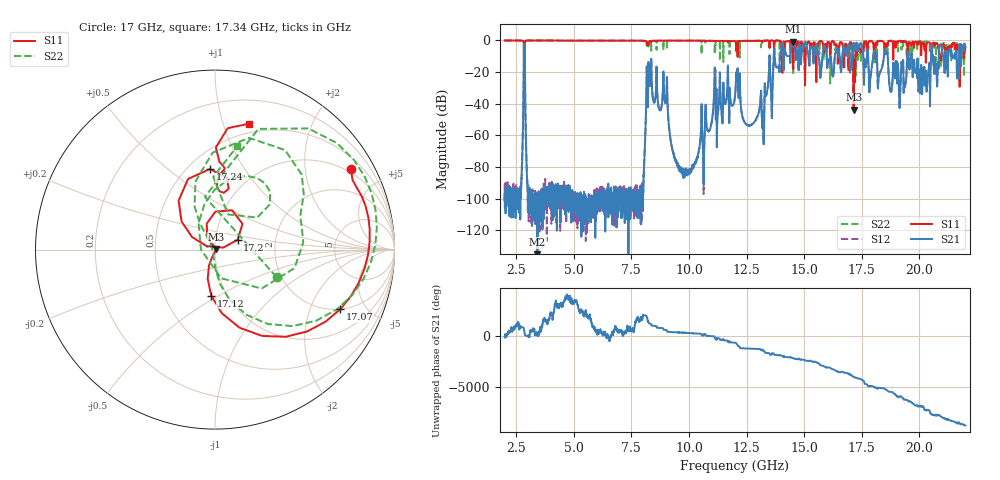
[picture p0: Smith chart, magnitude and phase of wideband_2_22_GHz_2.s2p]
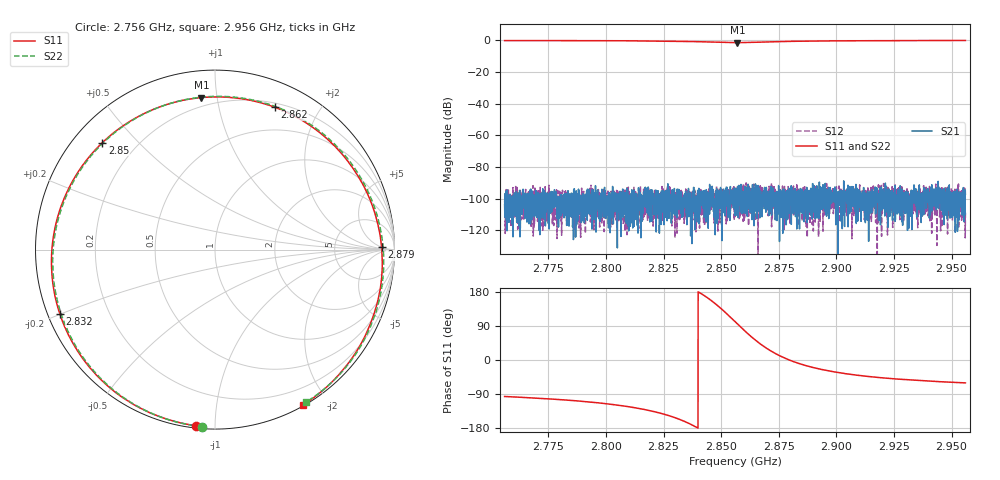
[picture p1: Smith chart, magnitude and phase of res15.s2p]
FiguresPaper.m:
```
clear
close all

load("results\FiguresResponse.mat")

LineW = 1;

DeltaPB = 15/1000;
DeltaSP = 80/1000;
f0 = 2.856;
Qu = 1060;

%% Magnitude

fig1 = figure;
ax1 = axes(fig1);
ax1.Units = "centimeters";
ax1.Position(3:4) = [7.5, 5];
ax1.XLim = [f0 - DeltaSP, f0 + DeltaSP];
ax1.YLim = [-70, 0];
hold on

plot(ax1,freqGHz,S21dbLoss, 'r', 'LineWidth',LineW, 'LineStyle','--')
plot(ax1,freqGHz,S11dbLoss, 'r', 'LineWidth',LineW, 'LineStyle','-')

plot(ax1,freqMeas,S21mod, 'k', 'LineWidth',LineW, 'LineStyle','--')
plot(ax1,freqMeas,S11mod, 'k', 'LineWidth',LineW, 'LineStyle','-')

hold off
% axis([min(w)/(2e9*pi) max(w)/(2e9*pi) -2*Rs 5])
% axis([min(w)/(2e9*pi) max(w)/(2e9*pi) -70 5])
ax1.XTick = [f0 - DeltaSP, f0 - DeltaPB, f0 + DeltaPB, f0 + DeltaSP];
% ax1.XTickLabel = num2str([f0-DfUn, f1, f2, f0+DfUn]');
xlabel(ax1,'Frequency (GHz)')
ylabel(ax1,'Magnitude (dB)')

legend(["|S21| syn. loss", "|S11| syn. loss", "|S21| meas.", "|S11| meas."], Location="south")

grid(ax1, 'on')
box(ax1, 'on')
% set(ax1, 'FontSize', 24)

interp1(freqMeas,S21mod,f0)
interp1(freqMeas,S11mod,f0)
interp1(freqMeas,S11mod,f0 - DeltaPB)
interp1(freqMeas,S11mod,f0 + DeltaPB)

idxx = and(freqMeas > f0 - DeltaPB, freqMeas < f0 + DeltaPB);
max(S11mod(idxx))

interp1(freqMeas,S21mod,f0 - DeltaSP)
interp1(freqMeas,S21mod,f0 + DeltaSP)

%% Group delay

fig2 = figure;
ax2 = axes(fig2);
ax2.Units = "centimeters";
ax2.Position(3:4) = [7.5, 5];
ax2.XLim = [f0 - DeltaSP, f0 + DeltaSP];
ax2.YLim = [0, 50];
hold on

plot(ax2,freqGHz,GdTheoryLossy, 'k', 'LineWidth',LineW, 'LineStyle','--')
plot(ax2,freqMeas,GdMeas, 'k', 'LineWidth',LineW, 'LineStyle','-')

hold off
% axis([min(w)/(2e9*pi) max(w)/(2e9*pi) -2*Rs 5])
% axis([min(w)/(2e9*pi) max(w)/(2e9*pi) -70 5])
ax2.XTick = [f0 - DeltaSP, f0 - DeltaPB, f0 + DeltaPB, f0 + DeltaSP];
% ax1.XTickLabel = num2str([f0-DfUn, f1, f2, f0+DfUn]');
xlabel(ax2,'Frequency (GHz)')
ylabel(ax2,'Group delay (ns)')

legend(["|S21| syn. loss", "|S21| meas."], Location="south")

grid(ax2, 'on')
box(ax2, 'on')

interp1(freqGHz,GdTheoryLossy,f0)
interp1(freqMeas,GdMeas,f0)

%% Magnitude wideband response

sparamWB = sparameters("C:\Users\giannetti\OneDrive - unifi.it\Università\INFN\Lavori\CavityFilter\Misure\Data20231129\wideband_2_22_GHz_2.s2p");

freqWB = sparamWB.Frequencies*1e-9;
S11WB = mag2db(abs(squeeze(sparamWB.Parameters(1,1,:))));
S21WB = mag2db(abs(squeeze(sparamWB.Parameters(2,1,:))));

fig3 = figure;
ax3 = axes(fig3);
ax3.Units = "centimeters";
ax3.Position(3:4) = [7.5, 5];
ax3.XLim = [2, 12];
ax3.YLim = [-100, 0];
hold on

% plot(ax3,freqWB,S11WB, 'k', 'LineWidth',LineW, 'LineStyle','--')
plot(ax3,freqWB,S21WB, 'k', 'LineWidth',LineW, 'LineStyle','-')

hold off
% axis([min(w)/(2e9*pi) max(w)/(2e9*pi) -2*Rs 5])
% axis([min(w)/(2e9*pi) max(w)/(2e9*pi) -70 5])
% ax3.XTick = [f0 - Delta, f0 - DeltaPB, f0 + DeltaPB, f0 + Delta];
% ax1.XTickLabel = num2str([f0-DfUn, f1, f2, f0+DfUn]');
xlabel(ax3,'Frequency (GHz)')
ylabel(ax3,'Magnitude (dB)')

legend(["|S21| meas."], Location="south")
% legend(["|S11| meas.", "|S21| meas."], Location="south")

grid(ax3, 'on')
box(ax3, 'on')

%% Group delay ports

sparamGD = sparameters("C:\Users\giannetti\OneDrive - unifi.it\Università\INFN\Lavori\CavityFilter\Misure\Data20231129\res15.s2p");
gd11 = groupdelay(sparamGD,1,1)*1e9;
gd22 = groupdelay(sparamGD,2,2)*1e9;
freqMeasGD = sparamGD.Frequencies*1e-9;

fig4 = figure;
ax4 = axes(fig4);
ax4.Units = "centimeters";
ax4.Position(3:4) = [7.5, 5];
ax4.XLim = [f0 - DeltaSP, f0 + DeltaSP];
ax4.YLim = [0, 20];
hold on

plot(ax4,freqMeasGD(1:320:3201),gd11(1:320:3201), 'ok', 'LineWidth',LineW, 'LineStyle','none')
plot(ax4,freqMeasGD(161:320:3201),gd22(161:320:3201), 'xr', 'LineWidth',LineW, 'LineStyle','none')

plot(ax4,freqMeasGD,gd11, 'k', 'LineWidth',LineW, 'LineStyle','--')
plot(ax4,freqMeasGD,gd22, 'r', 'LineWidth',LineW, 'LineStyle',':')

hold off
% axis([min(w)/(2e9*pi) max(w)/(2e9*pi) -2*Rs 5])
% axis([min(w)/(2e9*pi) max(w)/(2e9*pi) -70 5])
ax4.XTick = [f0 - DeltaSP, f0 - DeltaPB, f0 + DeltaPB, f0 + DeltaSP];
% ax1.XTickLabel = num2str([f0-DfUn, f1, f2, f0+DfUn]');
xlabel(ax4,'Frequency (GHz)')
ylabel(ax4,'Group delay (ns)')

legend(["Port 1", "Port 2"], Location="south")

grid(ax4, 'on')
box(ax4, 'on')

GdRealP1 = interp1(freqMeasGD,gd11,f0)
GdRealP2 = interp1(freqMeasGD,gd22,f0)

coeff = GdRealP1;
r = roots([coeff/Qu^2, 2/(pi*f0), -coeff]);
r(2)

%% Saving

% exportgraphics(fig1,"figures\Sparam_magnitude.pdf")
% exportgraphics(fig2,"figures\Sparam_groupdelay.pdf")
% exportgraphics(fig3,"figures\Sparam_magnitudeWB.pdf")
% exportgraphics(fig4,"figures\Sparam_GDports.pdf")
```
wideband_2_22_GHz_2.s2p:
!Agilent Technologies,N5242A,MY47420273,A.09.90.17
!Agilent N5242A: A.09.90.17
!Date: Wednesday, November 29, 2023 14:02:16
!Correction: S11(Full 2 Port(1,4))
!S41(Full 2 Port(1,4))
!S14(Full 2 Port(1,4))
!S44(Full 2 Port(1,4))
!S2P File: Measurements: S11, S41, S14, S44:
# Hz S  RI  R 50
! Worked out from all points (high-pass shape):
!   3201 points, 2 GHz to 22 GHz, reference 50 ohm
!   highest |S21| = -0.74 dB at 14.53 GHz (marker M1); lowest = -135.9 dB at 3.425 GHz (marker M2)
!   |S21| within 3 dB of the highest: 14.44 GHz to 14.59 GHz (144.5 MHz wide, 0.995 % of centre); 14.97 GHz to 15.11 GHz (139.2 MHz wide, 0.926 % of centre)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
!   lowest |S11| = -43.7 dB at 17.15 GHz (marker M3), VSWR 1.01, Z = 50.5 + j0.408 ohm
!   |S11| at or under -10 dB: 17.11 GHz to 17.23 GHz (115.1 MHz wide, 0.67 % of centre); 20.87693 GHz to 20.95259 GHz (75.66 MHz wide, 0.362 % of centre); 21.71986 GHz to 21.77236 GHz (52.51 MHz wide, 0.241 % of centre)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
!   |S22| runs from -37.0 to 0.0 dB; largest |S21 - S12| = 0.0095
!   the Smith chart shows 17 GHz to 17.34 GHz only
!   S11 on the Smith chart (normalised r, x): 17 GHz: 0.87, +3.44; 17.07 GHz: 1.99, -3.29; 17.12 GHz: 0.84, -0.46; 17.2 GHz: 1.28, +0.14; 17.24 GHz: 0.63, +0.71; 17.34 GHz: 0.41, +1.22
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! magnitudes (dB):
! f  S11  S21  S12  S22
! 2 GHz  0.0  -100.9  -90.9  0.0
! 3.425 GHz  0.0  -135.9  -101.2  -0.1
! 12 GHz  -0.5  -35.3  -35.3  -0.3
! 14.53 GHz  -18.0  -0.7  -0.7  -21.9
! 17 GHz  -1.1  -19.4  -19.4  -8.5
! 17.07 GHz  -2.2  -13.2  -13.1  -1.5
! 17.12 GHz  -11.8  -3.2  -3.2  -10.6
! 17.15 GHz  -43.7  -1.7  -1.7  -26.1
! 17.2 GHz  -17.2  -5.0  -5.0  -3.9
! 17.24 GHz  -6.9  -5.3  -5.3  -9.4
! 17.34 GHz  -2.8  -6.5  -6.5  -4.6
! 22 GHz  -4.4  -4.3  -4.2  -4.7
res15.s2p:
!Agilent Technologies,N5242A,MY47420273,A.09.90.17
!Agilent N5242A: A.09.90.17
!Date: Wednesday, November 29, 2023 13:27:30
!Correction: S11(Full 2 Port(1,4))
!S41(Full 2 Port(1,4))
!S14(Full 2 Port(1,4))
!S44(Full 2 Port(1,4))
!S2P File: Measurements: S11, S41, S14, S44:
# Hz S  RI  R 50
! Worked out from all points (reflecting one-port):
!   3201 points, 2.756 GHz to 2.956 GHz, reference 50 ohm
!   lowest |S11| = -1.4 dB at 2.857 GHz (marker M1), VSWR 12.36, Z = 7.39 + j45.2 ohm
!   phase of S11 starts at -96 deg and turns -324 deg over the sweep
!   S11 on the Smith chart (normalised r, x): 2.756 GHz: 0.01, -0.90; 2.832 GHz: 0.03, -0.20; 2.85 GHz: 0.08, +0.40; 2.862 GHz: 0.24, +1.48; 2.879 GHz: 26, +5; 2.956 GHz: 0.01, -1.72
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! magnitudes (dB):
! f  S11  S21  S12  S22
! 2.756 GHz  -0.1  -103.8  -101.4  -0.1
! 2.807 GHz  -0.2  -111.7  -95.7  -0.2
! 2.832 GHz  -0.6  -105.2  -103.5  -0.6
! 2.85 GHz  -1.3  -99.7  -95.7  -1.3
! 2.856 GHz  -1.4  -105.9  -107.5  -1.4
! 2.857 GHz  -1.4  -99.2  -94.4  -1.4
! 2.862 GHz  -1.3  -105.9  -99.8  -1.3
! 2.879 GHz  -0.7  -99.7  -95.0  -0.6
! 2.888 GHz  -0.4  -101.0  -105.2  -0.4
! 2.905 GHz  -0.2  -99.0  -92.7  -0.2
! 2.956 GHz  0.0  -97.2  -108.8  -0.1
